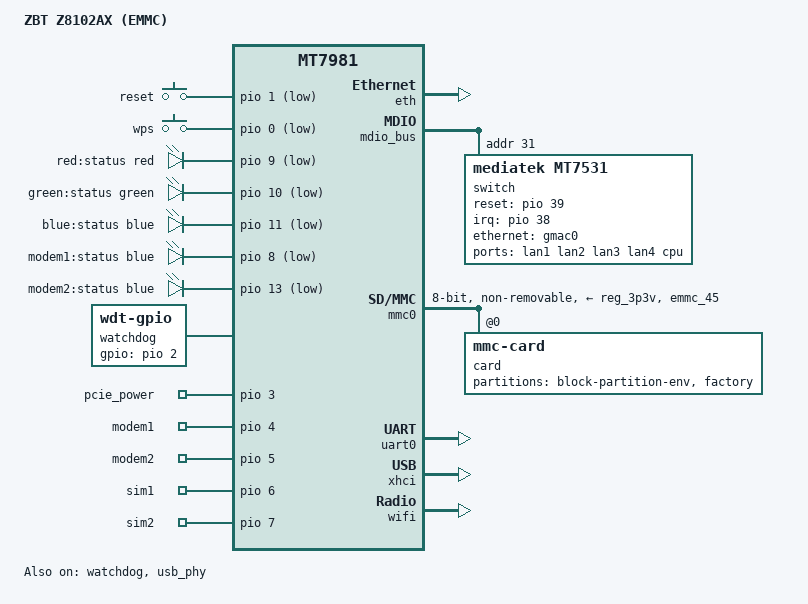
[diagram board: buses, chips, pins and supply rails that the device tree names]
// SPDX-License-Identifier: GPL-2.0-or-later OR MIT 

/dts-v1/;
#include <dt-bindings/gpio/gpio.h>
#include <dt-bindings/input/input.h>

#include "mt7981.dtsi"

/ {
	model = "ZBT Z8102AX (EMMC)";
	compatible = "z8102ax-emmc", "mediatek,mt7981", "zbtlink,zbt-z8102ax-emmc";

	aliases {
		serial0 = &uart0;
		led-boot = &led_status_green;
		led-failsafe = &led_status_red;
		led-running = &led_status_green;
		led-upgrade = &led_status_green;
		label-mac-device = &gmac0;
	};

	chosen {
		stdout-path = "serial0:115200n8";
		bootargs = "earlycon=uart8250,mmio32,0x11002000 console=ttyS0,115200n8 loglevel=8";
	};

	gpio-keys {
		compatible = "gpio-keys";

		reset {
			label = "reset";
			linux,code = <KEY_RESTART>;
			gpios = <&pio 1 GPIO_ACTIVE_LOW>;
		};

		wps {
			label = "wps";
			linux,code = <KEY_WPS_BUTTON>;
			gpios = <&pio 0 GPIO_ACTIVE_LOW>;
		};
		
	};

	leds {
		compatible = "gpio-leds";

		led_status_red: red {
			label = "red:status";
			gpios = <&pio 9 GPIO_ACTIVE_LOW>;
			color = <LED_COLOR_ID_RED>;
			function = LED_FUNCTION_STATUS;
		};

		led_status_green: green {
			label = "green:status";
			gpios = <&pio 10 GPIO_ACTIVE_LOW>;
			color = <LED_COLOR_ID_GREEN>;
			function = LED_FUNCTION_STATUS;
		};
		
		led_status_blue: blue {
			label = "blue:status";
			gpios = <&pio 11 GPIO_ACTIVE_LOW>;
			color = <LED_COLOR_ID_BLUE>;
			function = LED_FUNCTION_STATUS;
		};
		
		led_status_modem1: modem1 {
			label = "modem1:status";
			gpios = <&pio 8 GPIO_ACTIVE_LOW>;
			color = <LED_COLOR_ID_BLUE>;
			function = LED_FUNCTION_USB;
			function-enumerator = <0>;
		};
		
		led_status_modem2: modem2 {
			label = "modem2:status";
			gpios = <&pio 13 GPIO_ACTIVE_LOW>;
			color = <LED_COLOR_ID_BLUE>;
			function = LED_FUNCTION_USB;
			function-enumerator = <1>;
		};
	};

	watchdog {
		compatible = "linux,wdt-gpio";
		gpios = <&pio 2 GPIO_ACTIVE_HIGH>;
		hw_algo = "toggle";
		hw_margin_ms = <1000>;
	};

	gpio-export {
		compatible = "gpio-export";
		#size-cells = <0>;

		pcie {
			gpio-export,name = "pcie_power";
			gpio-export,output = <1>;
			gpios = <&pio 3 GPIO_ACTIVE_HIGH>;
		};

		modem1 {
			gpio-export,name = "modem1";
			gpio-export,output = <1>;
			gpios = <&pio 4 GPIO_ACTIVE_HIGH>;
		};

		modem2 {
			gpio-export,name = "modem2";
			gpio-export,output = <1>;
			gpios = <&pio 5 GPIO_ACTIVE_HIGH>;
		};

		sim1 {
			gpio-export,name = "sim1";
			gpio-export,output = <1>;
			gpios = <&pio 6 GPIO_ACTIVE_HIGH>;
		};

		sim2 {
			gpio-export,name = "sim2";
			gpio-export,output = <1>;
			gpios = <&pio 7 GPIO_ACTIVE_HIGH>;
		};
	};
};

&eth {
	status = "okay";

	gmac0: mac@0 {
		compatible = "mediatek,eth-mac";
		reg = <0>;
		phy-mode = "2500base-x";
		nvmem-cell-names = "mac-address";
		nvmem-cells = <&macaddr_factory_004>;

		fixed-link {
			speed = <2500>;
			full-duplex;
			pause;
		};
	};
	
	gmac1: mac@1 {
		compatible = "mediatek,eth-mac";
		reg = <1>;
		phy-mode = "gmii";
		phy-handle = <&int_gbe_phy>;
		nvmem-cell-names = "mac-address";
		nvmem-cells = <&macaddr_factory_02a>;
	};
};

&mdio_bus {
	switch: switch@0 {
		compatible = "mediatek,mt7531";
		reg = <31>;
		reset-gpios = <&pio 39 GPIO_ACTIVE_HIGH>;
		interrupt-controller;
		#interrupt-cells = <1>;
		interrupt-parent = <&pio>;
		interrupts = <38 IRQ_TYPE_LEVEL_HIGH>;
	};
};

&mmc0 {
	pinctrl-names = "default", "state_uhs";
	pinctrl-0 = <&mmc0_pins_default>;
	pinctrl-1 = <&mmc0_pins_uhs>;
	bus-width = <8>;
	max-frequency = <52000000>;
	cap-mmc-highspeed;
	vmmc-supply = <&reg_3p3v>;
	non-removable;
	status = "okay";

	card@0 {
		compatible = "mmc-card";
		reg = <0>;

		block {
			compatible = "block-device";

			partitions {
				block-partition-env {
					partname = "u-boot-env";
					nvem-layout {
						compatible = "u-boot, env";
					};
				};

				factory: block-partition-factory {
					partname = "factory";

					nvmem-layout {
						compatible = "fixed-layout";
						#address-cells = <1>;
						#size-cells = <1>;
					};
				};
			};
		};
	};
};

&switch {
	ports {
		#address-cells = <1>;
		#size-cells = <0>;

		port@0 {
			reg = <0>;
			label = "lan1";
			nvmem-cell-names = "mac-address";
			nvmem-cells = <&macaddr_factory_004>;
		};

		port@1 {
			reg = <1>;
			label = "lan2";
			nvmem-cell-names = "mac-address";
			nvmem-cells = <&macaddr_factory_004>;
		};

		port@2 {
			reg = <2>;
			label = "lan3";
			nvmem-cell-names = "mac-address";
			nvmem-cells = <&macaddr_factory_004>;
		};

		port@3 {
			reg = <3>;
			label = "lan4";
			nvmem-cell-names = "mac-address";
			nvmem-cells = <&macaddr_factory_004>;
		};

		port@6 {
			reg = <6>;
			label = "cpu";
			ethernet = <&gmac0>;
			phy-mode = "2500base-x";

			fixed-link {
				speed = <2500>;
				full-duplex;
				pause;
			};
		};
	};
};

&pio {
	gpio-line-names = 
			"wps",
			"reset",
			"watchdog",
			"pcie",
			"modem1",
			"modem2",
			"sim1",
			"sim2",
			"modem1_status",
			"red_status",
			"green_status",
			"blue_status",
			"",
			"",
			"modem2_status";

	spi0_flash_pins: spi0-pins {
		mux {
			function = "spi";
			groups = "spi0", "spi0_wp_hold";
		};

		conf-pu {
			pins = "SPI0_CS", "SPI0_HOLD", "SPI0_WP";
			drive-strength = <8>;
			mediatek,pull-up-adv = <0>; /* bias-disable */
		};

		conf-pd {
			pins = "SPI0_CLK", "SPI0_MOSI", "SPI0_MISO";
			drive-strength = <8>;
			mediatek,pull-up-adv = <0>; /* bias-disable */
		};
	};

	mmc0_pins_default: mmc0-pins-default {
		mux {
			function = "flash";
			groups = "emmc_45";
		};
	};

	mmc0_pins_uhs: mmc0-pins-uhs {
		mux {
			function = "flash";
			groups = "emmc_45";
		};
	};
};

&uart0 {
	status = "okay";
};

&watchdog {
	status = "okay";
};

&usb_phy {
	status = "okay";
};

&xhci {
	status = "okay";
};

&wifi {
	status = "okay";
	mediatek,mtd-eeprom = <&factory 0x0>;
};

&factory {
	compatible = "nvmem-cells";
	#address-cells = <1>;
	#size-cells = <1>;

	macaddr_factory_004: macaddr@004 {
		reg = <0x004 0x6>;
	};
	macaddr_factory_02a: macaddr@02a {
		reg = <0x02a 0x6>;
	};
};
